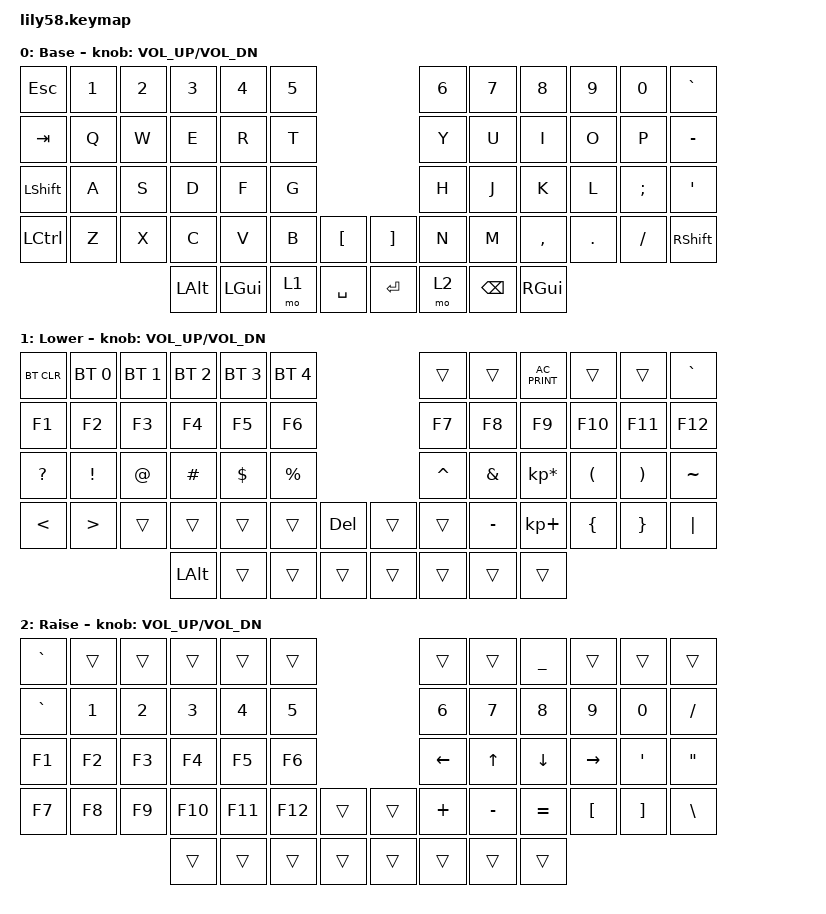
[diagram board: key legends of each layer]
/*
 * Copyright (c) 2020 The ZMK Contributors
 *
 * SPDX-License-Identifier: MIT
 */

#include <behaviors.dtsi>
#include <dt-bindings/zmk/bt.h>
#include <dt-bindings/zmk/keys.h>

/ {
    behaviors {
        // Switches the bongo cat glasses (rectangular <-> thug) on the left
        // screen; nothing is sent to the computer. Name must stay <= 8 chars.
        glasses: glasses {
            compatible = "rotten,behavior-glasses";
            #binding-cells = <0>;
            display-name = "Glasses";
        };
    };

    combos {
        compatible = "zmk,combos";

        // Esc + both inner keys ("[" and "]") together: glasses easter egg
        combo_glasses {
            timeout-ms = <80>;
            key-positions = <0 42 43>;
            bindings = <&glasses>;
        };
    };

    keymap {
        compatible = "zmk,keymap";

        default_layer {
            // ------------------------------------------------------------------------------------------------------------
            // |  ESC  |  1  |  2  |  3   |  4   |  5   |                   |  6   |  7    |  8    |  9   |   0   |   `   |
            // |  TAB  |  Q  |  W  |  E   |  R   |  T   |                   |  Y   |  U    |  I    |  O   |   P   |   -   |
            // |  CTRL |  A  |  S  |  D   |  F   |  G   |                   |  H   |  J    |  K    |  L   |   ;   |   '   |
            // | SHIFT |  Z  |  X  |  C   |  V   |  B   |   "["  |  |  "]"  |  N   |  M    |  ,    |  .   |   /   | SHIFT |
            //                     | ALT  | GUI  | LOWER|  SPACE |  | ENTER | RAISE| BSPC  | GUI   |

            display-name = "Base";
            bindings = <
&kp ESC         &kp N1  &kp N2  &kp N3    &kp N4    &kp N5                         &kp N6  &kp N7         &kp N8     &kp N9   &kp N0    &kp GRAVE
&kp TAB         &kp Q   &kp W   &kp E     &kp R     &kp T                          &kp Y   &kp U          &kp I      &kp O    &kp P     &kp MINUS
&kp LEFT_SHIFT  &kp A   &kp S   &kp D     &kp F     &kp G                          &kp H   &kp J          &kp K      &kp L    &kp SEMI  &kp SQT
&kp LCTRL       &kp Z   &kp X   &kp C     &kp V     &kp B   &kp LBKT     &kp RBKT  &kp N   &kp M          &kp COMMA  &kp DOT  &kp FSLH  &kp RSHFT
                                &kp LALT  &kp LGUI  &mo 1   &kp SPACE    &kp RET   &mo 2   &kp BACKSPACE  &kp RGUI
            >;

            sensor-bindings = <&inc_dec_kp C_VOL_UP C_VOL_DN>;
        };

        lower_layer {
            // ------------------------------------------------------------------------------------------------------------
            // | BTCLR | BT1 | BT2 |  BT3 |  BT4 |  BT5 |                   |      |       |       |      |       |       |
            // |  F1   |  F2 |  F3 |  F4  |  F5  |  F6  |                   |  F7  |  F8   |  F9   |  F10 |  F11  |  F12  |
            // |   `   |  !  |  @  |  #   |  $   |  %   |                   |  ^   |  &    |  *    |  (   |   )   |   ~   |
            // |   <   |  >  |     |      |      |      |  DEL   |  |       |      |  _    |  +    |  {   |   }   |  "|"  |
            //                     |      |      |      |        |  |       |      |       |       |

            display-name = "Lower";
            bindings = <
&bt BT_CLR     &bt BT_SEL 0      &bt BT_SEL 1  &bt BT_SEL 2  &bt BT_SEL 3  &bt BT_SEL 4                    &trans     &trans     &kp C_AC_PRINT   &trans    &trans    &kp GRAVE
&kp F1         &kp F2            &kp F3        &kp F4        &kp F5        &kp F6                          &kp F7     &kp F8     &kp F9           &kp F10   &kp F11   &kp F12
&kp QUESTION   &kp EXCL          &kp AT        &kp HASH      &kp DOLLAR    &kp PRCNT                       &kp CARET  &kp AMPS   &kp KP_MULTIPLY  &kp LPAR  &kp RPAR  &kp TILDE
&kp LESS_THAN  &kp GREATER_THAN  &trans        &trans        &trans        &trans        &kp DEL   &trans  &trans     &kp MINUS  &kp KP_PLUS      &kp LBRC  &kp RBRC  &kp PIPE
                                               &kp LEFT_ALT  &trans        &trans        &trans    &trans  &trans     &trans     &trans
            >;

            sensor-bindings = <&inc_dec_kp C_VOL_UP C_VOL_DN>;
        };

        raise_layer {
            // ------------------------------------------------------------------------------------------------------------
            // |       |     |     |      |      |      |                   |      |       |       |      |       |       |
            // |   `   |  1  |  2  |  3   |  4   |  5   |                   |  6   |   7   |   8   |  9   |   0   |       |
            // |   F1  |  F2 |  F3 |  F4  |  F5  |  F6  |                   |      |   <-  |   v   |  ^   |  ->   |       |
            // |   F7  |  F8 |  F9 |  F10 |  F11 |  F12 |        |  |       |  +   |   -   |   =   |  [   |   ]   |   \   |
            //                     |      |      |      |        |  |       |      |       |       |

            display-name = "Raise";
            bindings = <
&kp GRAVE  &trans  &trans  &trans   &trans   &trans                     &trans          &trans        &kp UNDERSCORE  &trans           &trans            &trans
&kp GRAVE  &kp N1  &kp N2  &kp N3   &kp N4   &kp N5                     &kp N6          &kp N7        &kp N8          &kp N9           &kp N0            &kp SLASH
&kp F1     &kp F2  &kp F3  &kp F4   &kp F5   &kp F6                     &kp LEFT_ARROW  &kp UP_ARROW  &kp DOWN_ARROW  &kp RIGHT_ARROW  &kp SINGLE_QUOTE  &kp DOUBLE_QUOTES
&kp F7     &kp F8  &kp F9  &kp F10  &kp F11  &kp F12  &trans    &trans  &kp PLUS        &kp MINUS     &kp EQUAL       &kp LBKT         &kp RBKT          &kp BSLH
                           &trans   &trans   &trans   &trans    &trans  &trans          &trans        &trans
            >;

            sensor-bindings = <&inc_dec_kp C_VOL_UP C_VOL_DN>;
        };
    };
};
